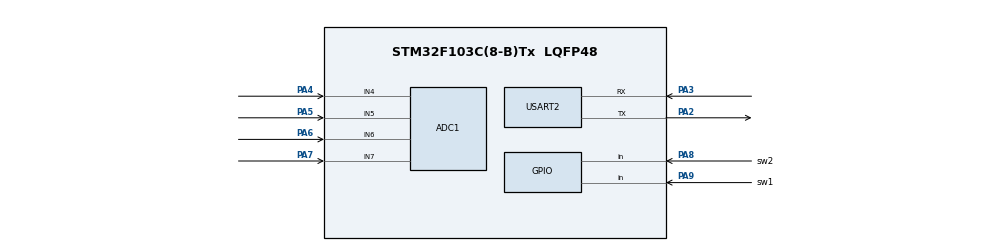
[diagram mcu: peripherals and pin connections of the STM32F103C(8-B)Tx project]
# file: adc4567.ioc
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ADC1.Channel-0\#ChannelRegularConversion=ADC_CHANNEL_4
ADC1.Channel-1\#ChannelRegularConversion=ADC_CHANNEL_5
ADC1.Channel-2\#ChannelRegularConversion=ADC_CHANNEL_6
ADC1.Channel-3\#ChannelRegularConversion=ADC_CHANNEL_7
ADC1.ContinuousConvMode=ENABLE
ADC1.NbrOfConversion=4
ADC1.NbrOfConversionFlag=1
ADC1.Rank-0\#ChannelRegularConversion=1
ADC1.Rank-1\#ChannelRegularConversion=2
ADC1.Rank-2\#ChannelRegularConversion=3
ADC1.Rank-3\#ChannelRegularConversion=4
ADC1.SamplingTime-0\#ChannelRegularConversion=ADC_SAMPLETIME_55CYCLES_5
ADC1.SamplingTime-1\#ChannelRegularConversion=ADC_SAMPLETIME_55CYCLES_5
ADC1.SamplingTime-2\#ChannelRegularConversion=ADC_SAMPLETIME_55CYCLES_5
ADC1.SamplingTime-3\#ChannelRegularConversion=ADC_SAMPLETIME_55CYCLES_5
ADC1.master=1
Dma.ADC1.0.Direction=DMA_PERIPH_TO_MEMORY
Dma.ADC1.0.Instance=DMA1_Channel1
Dma.ADC1.0.MemDataAlignment=DMA_MDATAALIGN_HALFWORD
Dma.ADC1.0.MemInc=DMA_MINC_ENABLE
Dma.ADC1.0.Mode=DMA_CIRCULAR
Dma.ADC1.0.PeriphDataAlignment=DMA_PDATAALIGN_HALFWORD
Dma.ADC1.0.PeriphInc=DMA_PINC_DISABLE
Dma.ADC1.0.Priority=DMA_PRIORITY_LOW
Dma.Request0=ADC1
Mcu.Family=STM32F1
Mcu.Name=STM32F103C(8-B)Tx
Mcu.Package=LQFP48
NVIC.ADC1_2_IRQn=true\:0\:0\:false\:false\:true\:true\:true
NVIC.DMA1_Channel1_IRQn=true\:0\:0\:false\:false\:true\:false\:true
NVIC.PriorityGroup=NVIC_PRIORITYGROUP_4
PA2.Mode=Asynchronous
PA2.Signal=USART2_TX
PA3.Mode=Asynchronous
PA3.Signal=USART2_RX
PA4.Signal=ADCx_IN4
PA5.Signal=ADCx_IN5
PA6.Signal=ADCx_IN6
PA7.Signal=ADCx_IN7
PA8.GPIO_Label=sw2
PA8.Signal=GPIO_Input
PA9.GPIO_Label=sw1
PA9.Signal=GPIO_Input
PD0-OSC_IN.Mode=HSE-External-Oscillator
PD0-OSC_IN.Signal=RCC_OSC_IN
PD1-OSC_OUT.Mode=HSE-External-Oscillator
PD1-OSC_OUT.Signal=RCC_OSC_OUT
ProjectManager.HeapSize=0x200
ProjectManager.StackSize=0x400
ProjectManager.TargetToolchain=MDK-ARM V5
RCC.APB1Freq_Value=8000000
RCC.APB2Freq_Value=8000000
SH.ADCx_IN4.0=ADC1_IN4,IN4
SH.ADCx_IN5.0=ADC1_IN5,IN5
SH.ADCx_IN6.0=ADC1_IN6,IN6
SH.ADCx_IN7.0=ADC1_IN7,IN7
USART2.VirtualMode=VM_ASYNC
VP_SYS_VS_ND.Mode=No_Debug
board=custom

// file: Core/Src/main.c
/* USER CODE BEGIN Header */
/**
  ******************************************************************************
  * @file           : main.c
  * @brief          : Main program body
  ******************************************************************************
  * @attention
  *
  * Copyright (c) 2022 STMicroelectronics.
  * All rights reserved.
  *
  * This software is licensed under terms that can be found in the LICENSE file
  * in the root directory of this software component.
  * If no LICENSE file comes with this software, it is provided AS-IS.
  *
  ******************************************************************************
  */
/* USER CODE END Header */
#include "main.h"
#include "adc.h"
#include "dma.h"
#include "usart.h"
#include "gpio.h"

/* USER CODE BEGIN Includes */
#include "stdio.h"
#include "string.h"
/* USER CODE END Includes */

void SystemClock_Config(void);

int main(void)
{

  /* MCU Configuration--------------------------------------------------------*/

  /* Reset of all peripherals, Initializes the Flash interface and the Systick. */
  HAL_Init();

  /* Configure the system clock */
  SystemClock_Config();

  /* Initialize all configured peripherals */
  MX_GPIO_Init();
  MX_DMA_Init();
  MX_ADC1_Init();
  MX_USART2_UART_Init();
  /* USER CODE BEGIN 2 */
	HAL_ADCEx_Calibration_Start(&hadc1);
  int a,b,sw;
  volatile uint32_t AdcRes[8];
  /* USER CODE END 2 */

  /* Infinite loop */
  while (1)
  {

    /* USER CODE BEGIN 3 */
		if(HAL_GPIO_ReadPin(sw1_GPIO_Port, sw1_Pin))                                                  //读取PA08口的值，并判断
	     a=0 ;
  	else
       a=1;
	  if(HAL_GPIO_ReadPin(sw2_GPIO_Port, sw2_Pin))                                                  //读取PA09口的值，并判断
	     b=0 ;
    else
       b=1;
		sw=a*10+b;
     HAL_ADC_Start_DMA(&hadc1,(uint32_t*)AdcRes,8);
		char str[64];
		int pressure1,pressure2,pressure3,temp;
		temp=(1.43-AdcRes[0]*3.3/4096)*1000/4.35+25;
		pressure1 = (double)((double)AdcRes[1]*(3.3/4096)*5.1-0.04)/0.00369;
		pressure2 = (double)((double)AdcRes[2]*(3.3/4096)*5.1-0.04)/0.00369;
		pressure3 = (double)((double)AdcRes[3]*(3.3/4096)*5.1-0.04)/0.00369;
		printf("local:%2d\r\n, press:%d\r\n,temp:[%d,%d,%d]\r\n",sw,temp,pressure1 ,pressure2,pressure3);
		HAL_UART_Transmit(&huart2,(uint8_t*)str,strlen(str),HAL_MAX_DELAY);
		HAL_Delay(2000);
  }
  /* USER CODE END 3 */
}

void SystemClock_Config(void)
{
  RCC_OscInitTypeDef RCC_OscInitStruct = {0};
  RCC_ClkInitTypeDef RCC_ClkInitStruct = {0};
  RCC_PeriphCLKInitTypeDef PeriphClkInit = {0};

  /** Initializes the RCC Oscillators according to the specified parameters
  * in the RCC_OscInitTypeDef structure.
  */
  RCC_OscInitStruct.OscillatorType = RCC_OSCILLATORTYPE_HSI;
  RCC_OscInitStruct.HSIState = RCC_HSI_ON;
  RCC_OscInitStruct.HSICalibrationValue = RCC_HSICALIBRATION_DEFAULT;
  RCC_OscInitStruct.PLL.PLLState = RCC_PLL_NONE;
  if (HAL_RCC_OscConfig(&RCC_OscInitStruct) != HAL_OK)
  {
    Error_Handler();
  }
  /** Initializes the CPU, AHB and APB buses clocks
  */
  RCC_ClkInitStruct.ClockType = RCC_CLOCKTYPE_HCLK|RCC_CLOCKTYPE_SYSCLK
                              |RCC_CLOCKTYPE_PCLK1|RCC_CLOCKTYPE_PCLK2;
  RCC_ClkInitStruct.SYSCLKSource = RCC_SYSCLKSOURCE_HSI;
  RCC_ClkInitStruct.AHBCLKDivider = RCC_SYSCLK_DIV1;
  RCC_ClkInitStruct.APB1CLKDivider = RCC_HCLK_DIV1;
  RCC_ClkInitStruct.APB2CLKDivider = RCC_HCLK_DIV1;

  if (HAL_RCC_ClockConfig(&RCC_ClkInitStruct, FLASH_LATENCY_0) != HAL_OK)
  {
    Error_Handler();
  }
  PeriphClkInit.PeriphClockSelection = RCC_PERIPHCLK_ADC;
  PeriphClkInit.AdcClockSelection = RCC_ADCPCLK2_DIV2;
  if (HAL_RCCEx_PeriphCLKConfig(&PeriphClkInit) != HAL_OK)
  {
    Error_Handler();
  }
}

void Error_Handler(void)
{
  __disable_irq();
  while (1)
  {
  }
}
